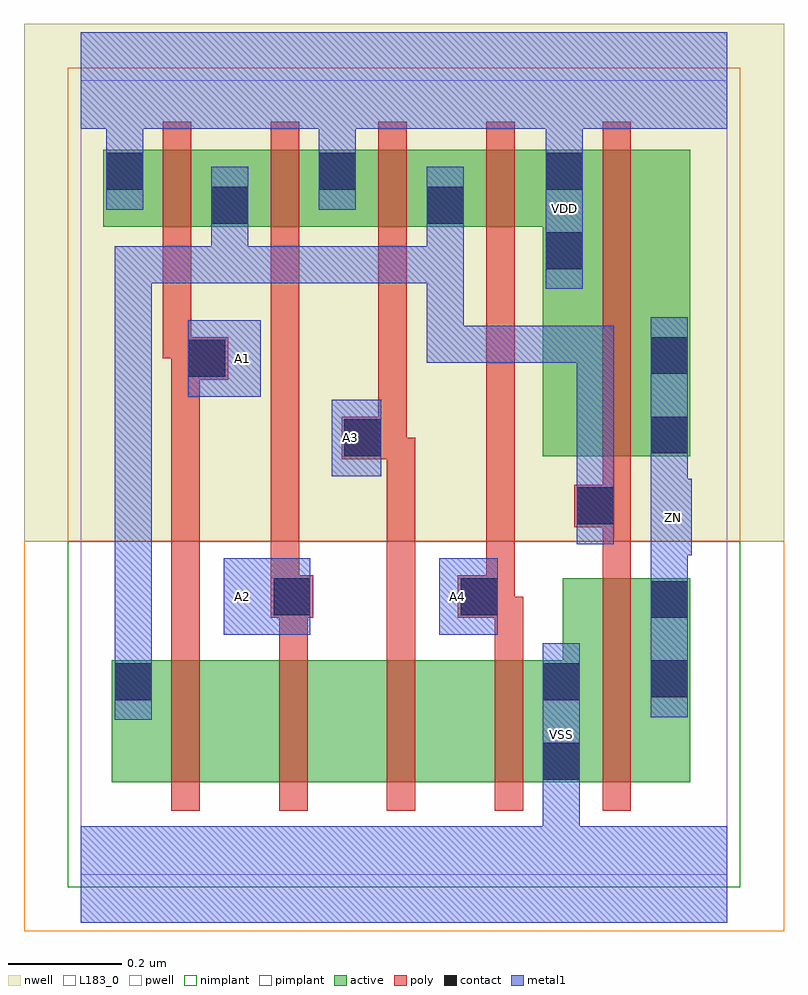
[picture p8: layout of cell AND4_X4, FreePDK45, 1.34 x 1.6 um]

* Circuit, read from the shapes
.subckt AND4_X4 A1 A2 A3 A4 VDD VSS ZN
M1 n1 A1 n2 VSUBS nfet w=0.215u l=0.05u
M2 n3 A2 n1 VSUBS nfet w=0.215u l=0.05u
M3 n4 A3 n3 VSUBS nfet w=0.215u l=0.05u
M4 VSS A4 n4 VSUBS nfet w=0.215u l=0.05u
M5 ZN n2 VSS VSUBS nfet w=0.36u l=0.05u
M6 n2 A1 VDD n5 pfet w=0.135u l=0.05u
M7 VDD A2 n2 n5 pfet w=0.135u l=0.05u
M8 n2 A3 VDD n5 pfet w=0.135u l=0.05u
M9 VDD A4 n2 n5 pfet w=0.135u l=0.05u
M10 ZN n2 VDD n5 pfet w=0.54u l=0.05u
.ends

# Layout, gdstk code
import gdstk
lib = gdstk.Library(unit=1e-6, precision=1e-10)
def R(c, l, rs):  # rectangles x0, y0, x1, y1
    for r in rs: c.add(gdstk.rectangle(r[:2], r[2:], *l))
def P(c, l, *ps):  # polygons
    for p in ps: c.add(gdstk.Polygon(p, *l))
active = (1, 0)
pwell = (2, 0)
nwell = (3, 0)
nimplant = (4, 0)
pimplant = (5, 0)
poly = (9, 0)
contact = (10, 0)
metal1 = (11, 0)
L183_0 = (183, 0)

and4_x4 = lib.new_cell('AND4_X4')
P(and4_x4, active, [(0.055,0.1625),(0.16,0.1625),(0.21,0.1625),(0.35,0.1625),(0.4,0.1625),(0.54,0.1625),(0.59,0.1625),(0.73,0.1625),(0.78,0.1625),(0.92,0.1625),(0.97,0.1625),(1.075,0.1625),(1.075,0.5225),(0.97,0.5225),(0.92,0.5225),(0.85,0.5225),(0.85,0.3775),(0.78,0.3775),(0.73,0.3775),(0.59,0.3775),(0.54,0.3775),(0.4,0.3775),(0.35,0.3775),(0.21,0.3775),(0.16,0.3775),(0.055,0.3775)],
  [(0.04,1.1425),(0.145,1.1425),(0.195,1.1425),(0.335,1.1425),(0.385,1.1425),(0.525,1.1425),(0.575,1.1425),(0.715,1.1425),(0.765,1.1425),(0.815,1.1425),(0.815,0.7375),(0.92,0.7375),(0.97,0.7375),(1.075,0.7375),(1.075,1.2775),(0.97,1.2775),(0.92,1.2775),(0.765,1.2775),(0.715,1.2775),(0.575,1.2775),(0.525,1.2775),(0.385,1.2775),(0.335,1.2775),(0.195,1.2775),(0.145,1.2775),(0.04,1.2775)])
P(and4_x4, pwell, [(-0.1,-0.1),(1.24,-0.1),(1.24,0.5875),(1.04,0.5875),(0.1,0.5875),(-0.1,0.5875)])
P(and4_x4, nwell, [(-0.1,0.5875),(0.1,0.5875),(1.04,0.5875),(1.24,0.5875),(1.24,1.5),(-0.1,1.5)])
R(and4_x4, nimplant, [(-0.0225,-0.0225,1.1625,0.5875)])
R(and4_x4, pimplant, [(-0.0225,0.5875,1.1625,1.4225)])
P(and4_x4, poly, [(0.145,0.91),(0.16,0.91),(0.16,0.3775),(0.16,0.1625),(0.16,0.1125),(0.21,0.1125),(0.21,0.1625),(0.21,0.3775),(0.21,0.8725),(0.26,0.8725),(0.26,0.9475),(0.195,0.9475),(0.195,1.1425),(0.195,1.2775),(0.195,1.3275),(0.145,1.3275),(0.145,1.2775),(0.145,1.1425)],
  [(0.335,0.4525),(0.35,0.4525),(0.35,0.3775),(0.35,0.1625),(0.35,0.1125),(0.4,0.1125),(0.4,0.1625),(0.4,0.3775),(0.4,0.4525),(0.41,0.4525),(0.41,0.5275),(0.385,0.5275),(0.385,1.1425),(0.385,1.2775),(0.385,1.3275),(0.335,1.3275),(0.335,1.2775),(0.335,1.1425)],
  [(0.46,0.7325),(0.54,0.7325),(0.54,0.3775),(0.54,0.1625),(0.54,0.1125),(0.59,0.1125),(0.59,0.1625),(0.59,0.3775),(0.59,0.77),(0.575,0.77),(0.575,1.1425),(0.575,1.2775),(0.575,1.3275),(0.525,1.3275),(0.525,1.2775),(0.525,1.1425),(0.525,0.8075),(0.46,0.8075)],
  [(0.665,0.4525),(0.73,0.4525),(0.73,0.3775),(0.73,0.1625),(0.73,0.1125),(0.78,0.1125),(0.78,0.1625),(0.78,0.3775),(0.78,0.49),(0.765,0.49),(0.765,1.1425),(0.765,1.2775),(0.765,1.3275),(0.715,1.3275),(0.715,1.2775),(0.715,1.1425),(0.715,0.5275),(0.665,0.5275)],
  [(0.87,0.6125),(0.92,0.6125),(0.92,0.5225),(0.92,0.1625),(0.92,0.1125),(0.97,0.1125),(0.97,0.1625),(0.97,0.5225),(0.97,0.7375),(0.97,1.2775),(0.97,1.3275),(0.92,1.3275),(0.92,1.2775),(0.92,0.7375),(0.92,0.6875),(0.87,0.6875)])
R(and4_x4, contact, [(0.815,0.1675,0.88,0.2325), (0.06,0.3075,0.125,0.3725), (0.815,0.3075,0.88,0.3725), (1.005,0.3125,1.07,0.3775), (1.005,0.4525,1.07,0.5175), (0.34,0.4575,0.405,0.5225), (0.67,0.4575,0.735,0.5225), (0.875,0.6175,0.94,0.6825), (0.465,0.7375,0.53,0.8025), (1.005,0.7425,1.07,0.8075), (0.19,0.8775,0.255,0.9425), (1.005,0.8825,1.07,0.9475), (0.82,1.0675,0.885,1.1325), (0.23,1.1475,0.295,1.2125), (0.61,1.1475,0.675,1.2125), (0.045,1.2075,0.11,1.2725), (0.42,1.2075,0.485,1.2725), (0.82,1.2075,0.885,1.2725)])
R(and4_x4, metal1, [(0.2525,0.4225,0.405,0.5575), (0.6325,0.4225,0.735,0.5575), (0.4425,0.7025,0.53,0.8375), (0.19,0.8425,0.3175,0.9775)])
P(and4_x4, metal1, [(0.06,0.2725),(0.125,0.2725),(0.125,1.0425),(0.61,1.0425),(0.61,0.9025),(0.875,0.9025),(0.875,0.5825),(0.94,0.5825),(0.94,0.9675),(0.675,0.9675),(0.675,1.2475),(0.61,1.2475),(0.61,1.1075),(0.295,1.1075),(0.295,1.2475),(0.23,1.2475),(0.23,1.1075),(0.06,1.1075)],
  [(1.005,0.2775),(1.07,0.2775),(1.07,0.5625),(1.0775,0.5625),(1.0775,0.6975),(1.07,0.6975),(1.07,0.9825),(1.005,0.9825)],
  [(0,-0.085),(1.14,-0.085),(1.14,0.085),(0.88,0.085),(0.88,0.4075),(0.815,0.4075),(0.815,0.085),(0,0.085)],
  [(0,1.315),(0.045,1.315),(0.045,1.1725),(0.11,1.1725),(0.11,1.315),(0.42,1.315),(0.42,1.1725),(0.485,1.1725),(0.485,1.315),(0.82,1.315),(0.82,1.0325),(0.885,1.0325),(0.885,1.315),(1.14,1.315),(1.14,1.485),(0,1.485)])
R(and4_x4, L183_0, [(0,0,1.14,1.4)])
and4_x4.add(gdstk.Label('A1', (0.285,0.91), layer=11, texttype=0))
and4_x4.add(gdstk.Label('A2', (0.285,0.49), layer=11, texttype=0))
and4_x4.add(gdstk.Label('A3', (0.475,0.77), layer=11, texttype=0))
and4_x4.add(gdstk.Label('A4', (0.665,0.49), layer=11, texttype=0))
and4_x4.add(gdstk.Label('VDD', (0.8525,1.1737), layer=11, texttype=0))
and4_x4.add(gdstk.Label('VSS', (0.8475,0.2462), layer=11, texttype=0))
and4_x4.add(gdstk.Label('ZN', (1.045,0.63), layer=11, texttype=0))

lib.write_gds('AND4_X4.gds')
